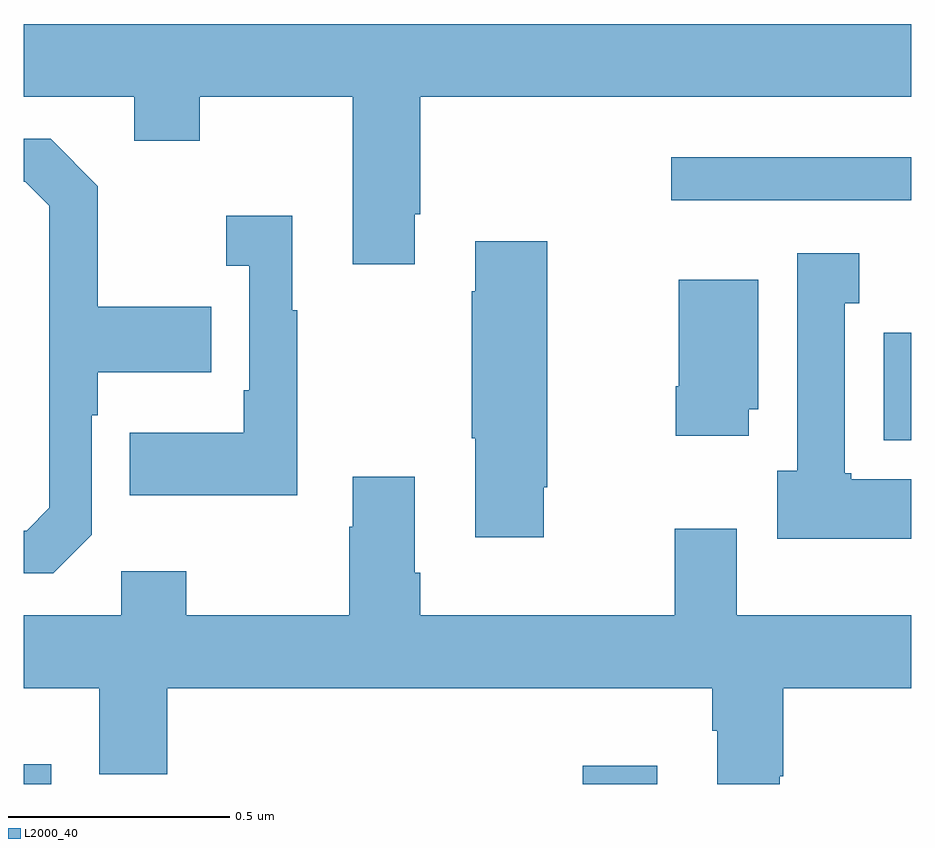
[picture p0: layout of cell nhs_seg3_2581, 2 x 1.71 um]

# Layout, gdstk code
import gdstk
lib = gdstk.Library(unit=1e-6, precision=1e-09)
def R(c, l, rs):  # rectangles x0, y0, x1, y1
    for r in rs: c.add(gdstk.rectangle(r[:2], r[2:], *l))
def P(c, l, *ps):  # polygons
    for p in ps: c.add(gdstk.Polygon(p, *l))
L2000_40 = (2000, 40)

nhs_seg3_2581 = lib.new_cell('nhs_seg3_2581')
R(nhs_seg3_2581, L2000_40, [(143,667.4,143.062,667.444), (144.26,667.4,144.427,667.441), (144.938,668.174,145,668.416), (144.459,668.715,145,668.812)])
P(nhs_seg3_2581, L2000_40, [(143.881,668.683),(143.894,668.683),(143.894,668.948),(145,668.948),(145,669.112),(143,669.112),(143,668.948),(143.249,668.948),(143.249,668.849),(143.397,668.849),(143.397,668.948),(143.741,668.948),(143.741,668.571),(143.881,668.571)],
  [(143.154,667.962),(143.154,668.231),(143.167,668.231),(143.167,668.327),(143.423,668.327),(143.423,668.475),(143.167,668.475),(143.167,668.747),(143.061,668.853),(143,668.853),(143,668.757),(143.004,668.757),(143.058,668.703),(143.058,668.022),(143.007,667.971),(143,667.971),(143,667.875),(143.067,667.875)],
  [(143.617,668.467),(143.605,668.467),(143.605,668.68),(143.457,668.68),(143.457,668.567),(143.508,668.567),(143.508,668.287),(143.496,668.287),(143.496,668.191),(143.239,668.191),(143.239,668.051),(143.617,668.051)],
  [(144.172,668.068),(144.18,668.068),(144.18,668.623),(144.017,668.623),(144.017,668.51),(144.01,668.51),(144.01,668.179),(144.017,668.179),(144.017,667.956),(144.172,667.956)],
  [(145,668.086),(144.864,668.086),(144.864,668.1),(144.85,668.1),(144.85,668.483),(144.883,668.483),(144.883,668.596),(144.743,668.596),(144.743,668.106),(144.698,668.106),(144.698,667.952),(145,667.952)],
  [(144.634,668.244),(144.655,668.244),(144.655,668.536),(144.476,668.536),(144.476,668.296),(144.469,668.296),(144.469,668.184),(144.634,668.184)],
  [(144.551,667.52),(144.563,667.52),(144.563,667.4),(144.703,667.4),(144.703,667.417),(144.711,667.417),(144.711,667.616),(145,667.616),(145,667.78),(144.607,667.78),(144.607,667.975),(144.467,667.975),(144.467,667.78),(143.894,667.78),(143.894,667.876),(143.881,667.876),(143.881,668.092),(143.741,668.092),(143.741,667.979),(143.734,667.979),(143.734,667.78),(143.367,667.78),(143.367,667.879),(143.22,667.879),(143.22,667.78),(143,667.78),(143,667.616),(143.171,667.616),(143.171,667.422),(143.324,667.422),(143.324,667.616),(144.551,667.616)])

lib.write_gds('nhs_seg3_2581.gds')
